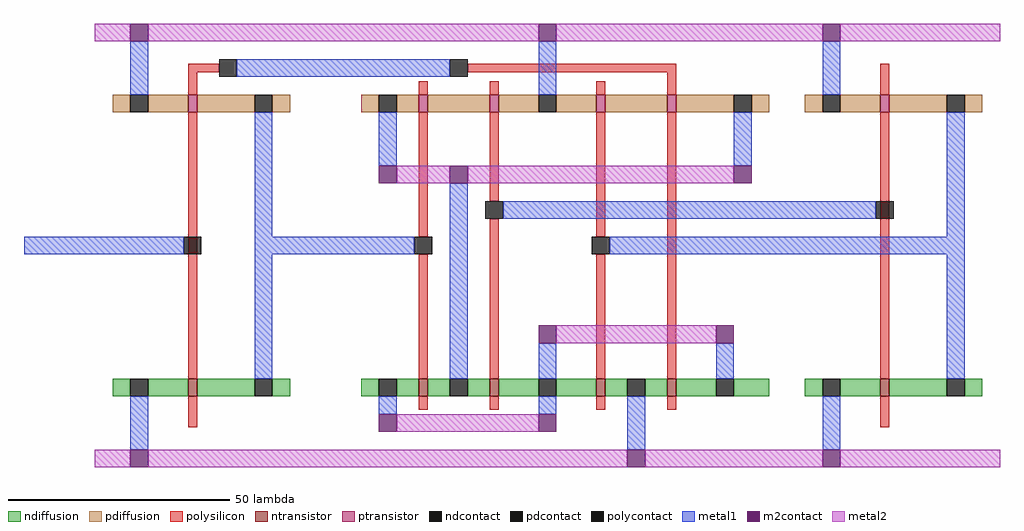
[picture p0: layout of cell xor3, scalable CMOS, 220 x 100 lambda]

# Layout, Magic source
magic
tech scmos
<< polysilicon >>
rect -59 85 -52 87
rect -59 82 -57 85
rect 4 85 51 87
rect -7 80 -5 83
rect 9 80 11 83
rect 33 80 35 83
rect 49 80 51 85
rect -7 48 -5 76
rect 9 56 11 76
rect -7 16 -5 44
rect 9 16 11 52
rect 33 48 35 76
rect 33 16 35 44
rect 49 16 51 76
rect -7 9 -5 12
rect 9 9 11 12
rect 33 9 35 12
rect 49 9 51 12
<< ndiffusion >>
rect -20 12 -16 16
rect -12 12 -7 16
rect -5 12 0 16
rect 4 12 9 16
rect 11 12 20 16
rect 24 12 33 16
rect 35 12 40 16
rect 44 12 49 16
rect 51 12 60 16
rect 64 12 72 16
<< pdiffusion >>
rect -20 76 -16 80
rect -12 76 -7 80
rect -5 76 9 80
rect 11 76 20 80
rect 24 76 33 80
rect 35 76 49 80
rect 51 76 64 80
rect 68 76 72 80
<< metal1 >>
rect -48 84 0 88
rect 20 80 24 92
rect -16 64 -12 76
rect 64 64 68 76
rect -96 44 -60 48
rect -40 44 -8 48
rect 0 16 4 60
rect 12 52 96 56
rect 36 44 116 48
rect 20 16 24 24
rect 60 16 64 24
rect -16 8 -12 12
rect 20 8 24 12
rect 40 0 44 12
<< metal2 >>
rect -36 92 20 96
rect 24 92 76 96
rect -12 60 0 64
rect 4 60 64 64
rect 24 24 60 28
rect -12 4 20 8
rect -36 -4 40 0
rect 44 -4 76 0
<< ntransistor >>
rect -7 12 -5 16
rect 9 12 11 16
rect 33 12 35 16
rect 49 12 51 16
<< ptransistor >>
rect -7 76 -5 80
rect 9 76 11 80
rect 33 76 35 80
rect 49 76 51 80
<< polycontact >>
rect -52 84 -48 88
rect 0 84 4 88
rect 8 52 12 56
rect -60 44 -56 48
rect -8 44 -4 48
rect 32 44 36 48
rect 96 52 100 56
<< ndcontact >>
rect -16 12 -12 16
rect 0 12 4 16
rect 20 12 24 16
rect 40 12 44 16
rect 60 12 64 16
<< pdcontact >>
rect -16 76 -12 80
rect 20 76 24 80
rect 64 76 68 80
<< m2contact >>
rect 20 92 24 96
rect -16 60 -12 64
rect 0 60 4 64
rect 64 60 68 64
rect 20 24 24 28
rect 60 24 64 28
rect -16 4 -12 8
rect 20 4 24 8
rect 40 -4 44 0
use inv  inv_0
transform 1 0 -52 0 1 36
box -28 -40 20 60
use inv  inv_1
transform 1 0 104 0 1 36
box -28 -40 20 60
<< end >>

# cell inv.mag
magic
tech scmos
<< polysilicon >>
rect -7 44 -5 51
rect -7 -20 -5 40
rect -7 -31 -5 -24
<< ndiffusion >>
rect -24 -24 -20 -20
rect -16 -24 -7 -20
rect -5 -24 8 -20
rect 12 -24 16 -20
<< pdiffusion >>
rect -24 40 -20 44
rect -16 40 -7 44
rect -5 40 8 44
rect 12 40 16 44
<< metal1 >>
rect -20 44 -16 56
rect 8 -20 12 40
rect -20 -36 -16 -24
<< metal2 >>
rect -28 56 -20 60
rect -16 56 20 60
rect -28 -40 -20 -36
rect -16 -40 20 -36
<< ntransistor >>
rect -7 -24 -5 -20
<< ptransistor >>
rect -7 40 -5 44
<< ndcontact >>
rect -20 -24 -16 -20
rect 8 -24 12 -20
<< pdcontact >>
rect -20 40 -16 44
rect 8 40 12 44
<< m2contact >>
rect -20 56 -16 60
rect -20 -40 -16 -36
<< end >>
